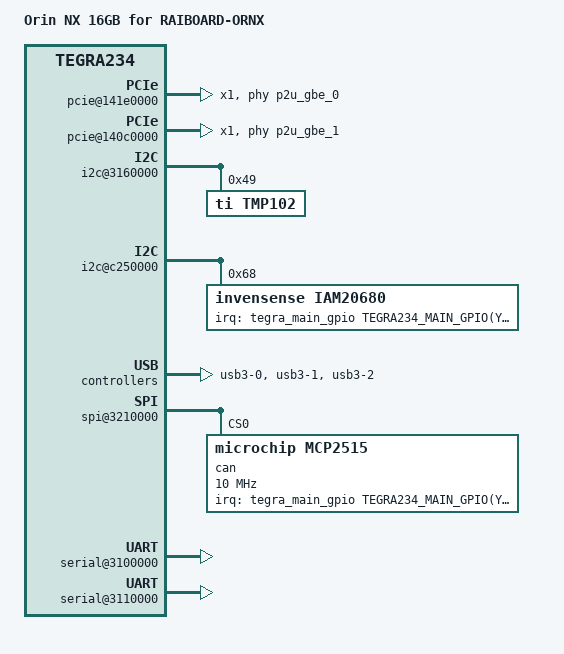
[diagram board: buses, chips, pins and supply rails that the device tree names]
/*
 * Top level DTS file for CVM:P3767-0000 and CVB:RAIBOARD-ORNX.
 *
 * Copyright (c) 2021-2022, NVIDIA CORPORATION.  All rights reserved.
 *
 * This program is free software; you can redistribute it and/or modify
 * it under the terms of the GNU General Public License as published by
 * the Free Software Foundation; version 2 of the License.
 *
 * This program is distributed in the hope that it will be useful, but WITHOUT
 * ANY WARRANTY; without even the implied warranty of MERCHANTABILITY or
 * FITNESS FOR A PARTICULAR PURPOSE.  See the GNU General Public License for
 * more details.
 */

/dts-v1/;

#include "tegra234-dcb-p3767-0000-hdmi.dtsi"
#include <tegra234-soc/mods-simple-bus.dtsi>
#include <t234-common-cvm/tegra234-thermal.dtsi>
#include <t234-common-cvm/tegra234-cpuidle.dtsi>
#include <t234-common-cvm/tegra234-thermal-cooling.dtsi>
#include <t234-common-cvm/tegra234-thermal-userspace-alert.dtsi>
#include "cvm/tegra234-p3767-0000.dtsi"
#include "cvb/tegra234-p3768-0000-a0-raiboard.dtsi"

/ {
	nvidia,dtsfilename = __FILE__;
	nvidia,dtbbuildtime = __DATE__, __TIME__;
	compatible = "nvidia,p3768-0000+p3767-0000", "nvidia,tegra234", "nvidia,tegra23x";
	model = "Orin NX 16GB for RAIBOARD-ORNX";

	fixed-regulators {
		regulator@102 { //p3768_vdd_1v8
			//vin-supply = <&p3768_vdd_3v3_sys>;
			/delete-property/ vin-supply;
		};
	};

	pcie@141e0000 { /* C7x1 node */
		status = "okay";
		num-lanes = <1>;
		phys = <&p2u_gbe_0>;
		phy-names = "p2u-0";
	};

	pcie@140c0000 { /* C9x1 node */
		status = "okay";
		num-lanes = <1>;
		phys = <&p2u_gbe_1>;
		phy-names = "p2u-0";
	};

	i2c@3160000 {
		tmp102: tmp102@49 { // Temperature Sensor
			compatible = "ti,tmp102";
			reg = <0x49>;
			#thermal-sensor-cells = <0>;
		};
	};

	i2c@c250000 {
		iam20680@68 {
			compatible = "invensense,iam20680";
			reg = <0x68>;
			interrupt-parent = <&tegra_main_gpio>;
			interrupts = <TEGRA234_MAIN_GPIO(Y, 6) IRQ_TYPE_LEVEL_LOW>; //Unused pin
			mount-matrix = "-0.984807753012208", "0", "-0.173648177666930", "0", "-1", "0", "-0.173648177666930", "0", "0.984807753012208"; // x0,y0,z0, x1,y1,z1, x2,y2,z2
		};
	};

	xusb_padctl: xusb_padctl@3520000 {
		ports {
			usb3-0 {
				nvidia,usb2-companion = <1>;
				status = "okay";
			};
			usb3-1 {
				//nvidia,usb2-companion = <0>;
				nvidia,usb2-companion = <1>;
				status = "okay";
			};
			usb3-2 {
				//nvidia,usb2-companion = <2>;
				nvidia,usb2-companion = <1>;
				status = "okay";
			};
		};
	};

	xudc@3550000 {
		/delete-property/ charger-detector;
	};

	/delete-node/ usb_cd;

	clocks {
		can_clock: can_clock {
			compatible = "fixed-clock";
			#clock-cells = <0>;
			clock-frequency = <20000000>;
			clock-accuracy = <100>;
		};
	};
	spi@3210000{ // SPI0 with CS0 for SPI2CAN
		status = "okay";
		nvidia,clock-always-on;
		spi@0 {
			status = "disabled";
		};
		spi@1 {
			status = "disabled";
		};
		can@1 {
			status = "okay";
			compatible = "microchip,mcp2515";
			reg = <0x0>;
			spi-max-frequency = <10000000>;
			nvidia,enable-hw-based-cs;
			nvidia,rx-clk-tap-delay = <0x7>;
			clocks = <&can_clock>;
			interrupt-parent = <&tegra_main_gpio>;
			interrupts = <TEGRA234_MAIN_GPIO(Y, 6) IRQ_TYPE_NONE>; //Unused pin
			controller-data {
				nvidia,cs-setup-clk-count = <0x1e>;
				nvidia,cs-hold-clk-count = <0x1e>;
				nvidia,rx-clk-tap-delay = <0x1f>;
				nvidia,tx-clk-tap-delay = <0x0>;
			};
		};
	};
	spi@3230000{
		status = "disabled";
	};


	serial@3100000 { // UART1 (uarta) Channel-1
		status = "okay";
	};

	serial@3110000 { // UART0 (uartb) Channel-0
		status = "okay";
	};

};
